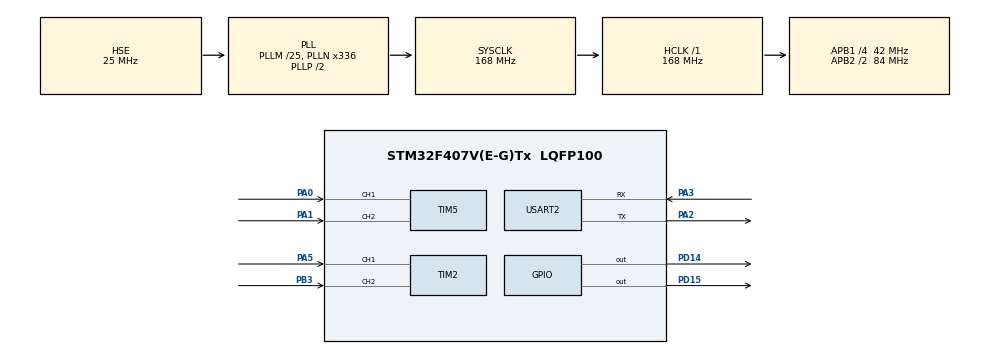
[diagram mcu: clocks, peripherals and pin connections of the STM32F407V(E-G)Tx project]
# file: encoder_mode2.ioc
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Mcu.Family=STM32F4
Mcu.Name=STM32F407V(E-G)Tx
Mcu.Package=LQFP100
NVIC.PriorityGroup=NVIC_PRIORITYGROUP_4
NVIC.TIM2_IRQn=true\:0\:0\:false\:false\:true\:true\:true\:true
NVIC.TIM5_IRQn=true\:0\:0\:false\:false\:true\:true\:true\:true
PA0-WKUP.Signal=S_TIM5_CH1
PA1.Signal=S_TIM5_CH2
PA13.Mode=Serial_Wire
PA13.Signal=SYS_JTMS-SWDIO
PA14.Mode=Serial_Wire
PA14.Signal=SYS_JTCK-SWCLK
PA2.Mode=Asynchronous
PA2.Signal=USART2_TX
PA3.Mode=Asynchronous
PA3.Signal=USART2_RX
PA5.Signal=S_TIM2_CH1_ETR
PB3.Signal=S_TIM2_CH2
PC14-OSC32_IN.Mode=LSE-External-Oscillator
PC14-OSC32_IN.Signal=RCC_OSC32_IN
PC15-OSC32_OUT.Mode=LSE-External-Oscillator
PC15-OSC32_OUT.Signal=RCC_OSC32_OUT
PD14.Signal=GPIO_Output
PD15.Signal=GPIO_Output
PH0-OSC_IN.Mode=HSE-External-Oscillator
PH0-OSC_IN.Signal=RCC_OSC_IN
PH1-OSC_OUT.Mode=HSE-External-Oscillator
PH1-OSC_OUT.Signal=RCC_OSC_OUT
ProjectManager.HeapSize=0x200
ProjectManager.StackSize=0x400
ProjectManager.TargetToolchain=STM32CubeIDE
RCC.48MHZClocksFreq_Value=84000000
RCC.AHBFreq_Value=168000000
RCC.APB1CLKDivider=RCC_HCLK_DIV4
RCC.APB1Freq_Value=42000000
RCC.APB1TimFreq_Value=84000000
RCC.APB2CLKDivider=RCC_HCLK_DIV2
RCC.APB2Freq_Value=84000000
RCC.APB2TimFreq_Value=168000000
RCC.CortexFreq_Value=168000000
RCC.HCLKFreq_Value=168000000
RCC.HSE_VALUE=25000000
RCC.HSI_VALUE=16000000
RCC.PLLM=25
RCC.PLLN=336
RCC.PLLSourceVirtual=RCC_PLLSOURCE_HSE
RCC.SYSCLKFreq_VALUE=168000000
RCC.SYSCLKSource=RCC_SYSCLKSOURCE_PLLCLK
RCC.VCOOutputFreq_Value=336000000
SH.S_TIM2_CH1_ETR.0=TIM2_CH1,Encoder_Interface
SH.S_TIM2_CH2.0=TIM2_CH2,Encoder_Interface
SH.S_TIM5_CH1.0=TIM5_CH1,Encoder_Interface
SH.S_TIM5_CH2.0=TIM5_CH2,Encoder_Interface
TIM2.EncoderMode=TIM_ENCODERMODE_TI12
TIM5.EncoderMode=TIM_ENCODERMODE_TI12
USART2.VirtualMode=VM_ASYNC
VP_RTC_VS_RTC_Activate.Mode=RTC_Enabled
board=custom

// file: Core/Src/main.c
/* USER CODE BEGIN Header */
/**
  ******************************************************************************
  * @file           : main.c
  * @brief          : Main program body
  ******************************************************************************
  * @attention
  *
  * Copyright (c) 2023 STMicroelectronics.
  * All rights reserved.
  *
  * This software is licensed under terms that can be found in the LICENSE file
  * in the root directory of this software component.
  * If no LICENSE file comes with this software, it is provided AS-IS.
  *
  ******************************************************************************
  */
/* USER CODE END Header */
#include "main.h"

RTC_HandleTypeDef hrtc;

TIM_HandleTypeDef htim2;
TIM_HandleTypeDef htim5;

UART_HandleTypeDef huart2;

void SystemClock_Config(void);
static void MX_GPIO_Init(void);
static void MX_TIM2_Init(void);
static void MX_TIM5_Init(void);
static void MX_USART2_UART_Init(void);
static void MX_RTC_Init(void);
/* USER CODE BEGIN PFP */
uint32_t rot_new_state;
uint32_t rot_old_state;
uint32_t rot_cnt;
uint32_t rot_new_state1;
uint32_t rot_old_state1;
uint32_t rot_cnt1;
uint16_t _write(int file, char* p, int len){
	HAL_UART_Transmit(&huart2, p, len, 10);
	return len;

}
/* USER CODE END PFP */

int main(void)
{

  /* MCU Configuration--------------------------------------------------------*/

  /* Reset of all peripherals, Initializes the Flash interface and the Systick. */
  HAL_Init();

  /* Configure the system clock */
  SystemClock_Config();

  /* Initialize all configured peripherals */
  MX_GPIO_Init();
  MX_TIM2_Init();
  MX_TIM5_Init();
  MX_USART2_UART_Init();
  MX_RTC_Init();
  /* USER CODE BEGIN 2 */
//  HAL_TIM_Encoder_Start_IT(&htim2, TIM_CHANNEL_ALL);
//  HAL_TIM_Encoder_Start_IT(&htim5, TIM_CHANNEL_ALL);
  /* USER CODE END 2 */

  /* Infinite loop */
  while (1)
  {
	 HAL_GPIO_TogglePin(GPIOD, GPIO_PIN_12);
	 HAL_GPIO_TogglePin(GPIOD, GPIO_PIN_13);
	 HAL_Delay(1000);
  }
}

void SystemClock_Config(void)
{
  RCC_OscInitTypeDef RCC_OscInitStruct = {0};
  RCC_ClkInitTypeDef RCC_ClkInitStruct = {0};

  /** Configure the main internal regulator output voltage
  */
  __HAL_RCC_PWR_CLK_ENABLE();
  __HAL_PWR_VOLTAGESCALING_CONFIG(PWR_REGULATOR_VOLTAGE_SCALE1);

  /** Initializes the RCC Oscillators according to the specified parameters
  * in the RCC_OscInitTypeDef structure.
  */
  RCC_OscInitStruct.OscillatorType = RCC_OSCILLATORTYPE_LSI|RCC_OSCILLATORTYPE_HSE;
  RCC_OscInitStruct.HSEState = RCC_HSE_ON;
  RCC_OscInitStruct.LSIState = RCC_LSI_ON;
  RCC_OscInitStruct.PLL.PLLState = RCC_PLL_ON;
  RCC_OscInitStruct.PLL.PLLSource = RCC_PLLSOURCE_HSE;
  RCC_OscInitStruct.PLL.PLLM = 25;
  RCC_OscInitStruct.PLL.PLLN = 336;
  RCC_OscInitStruct.PLL.PLLP = RCC_PLLP_DIV2;
  RCC_OscInitStruct.PLL.PLLQ = 4;
  if (HAL_RCC_OscConfig(&RCC_OscInitStruct) != HAL_OK)
  {
    Error_Handler();
  }

  /** Initializes the CPU, AHB and APB buses clocks
  */
  RCC_ClkInitStruct.ClockType = RCC_CLOCKTYPE_HCLK|RCC_CLOCKTYPE_SYSCLK
                              |RCC_CLOCKTYPE_PCLK1|RCC_CLOCKTYPE_PCLK2;
  RCC_ClkInitStruct.SYSCLKSource = RCC_SYSCLKSOURCE_PLLCLK;
  RCC_ClkInitStruct.AHBCLKDivider = RCC_SYSCLK_DIV1;
  RCC_ClkInitStruct.APB1CLKDivider = RCC_HCLK_DIV4;
  RCC_ClkInitStruct.APB2CLKDivider = RCC_HCLK_DIV2;

  if (HAL_RCC_ClockConfig(&RCC_ClkInitStruct, FLASH_LATENCY_5) != HAL_OK)
  {
    Error_Handler();
  }
}

static void MX_RTC_Init(void)
{

  /** Initialize RTC Only
  */
  hrtc.Instance = RTC;
  hrtc.Init.HourFormat = RTC_HOURFORMAT_24;
  hrtc.Init.AsynchPrediv = 127;
  hrtc.Init.SynchPrediv = 255;
  hrtc.Init.OutPut = RTC_OUTPUT_DISABLE;
  hrtc.Init.OutPutPolarity = RTC_OUTPUT_POLARITY_HIGH;
  hrtc.Init.OutPutType = RTC_OUTPUT_TYPE_OPENDRAIN;
  if (HAL_RTC_Init(&hrtc) != HAL_OK)
  {
    Error_Handler();
  }

}

static void MX_TIM2_Init(void)
{

  TIM_Encoder_InitTypeDef sConfig = {0};
  TIM_MasterConfigTypeDef sMasterConfig = {0};

  htim2.Instance = TIM2;
  htim2.Init.Prescaler = 0;
  htim2.Init.CounterMode = TIM_COUNTERMODE_UP;
  htim2.Init.Period = 4294967295;
  htim2.Init.ClockDivision = TIM_CLOCKDIVISION_DIV1;
  htim2.Init.AutoReloadPreload = TIM_AUTORELOAD_PRELOAD_DISABLE;
  sConfig.EncoderMode = TIM_ENCODERMODE_TI12;
  sConfig.IC1Polarity = TIM_ICPOLARITY_RISING;
  sConfig.IC1Selection = TIM_ICSELECTION_DIRECTTI;
  sConfig.IC1Prescaler = TIM_ICPSC_DIV1;
  sConfig.IC1Filter = 0;
  sConfig.IC2Polarity = TIM_ICPOLARITY_RISING;
  sConfig.IC2Selection = TIM_ICSELECTION_DIRECTTI;
  sConfig.IC2Prescaler = TIM_ICPSC_DIV1;
  sConfig.IC2Filter = 0;
  if (HAL_TIM_Encoder_Init(&htim2, &sConfig) != HAL_OK)
  {
    Error_Handler();
  }
  sMasterConfig.MasterOutputTrigger = TIM_TRGO_RESET;
  sMasterConfig.MasterSlaveMode = TIM_MASTERSLAVEMODE_DISABLE;
  if (HAL_TIMEx_MasterConfigSynchronization(&htim2, &sMasterConfig) != HAL_OK)
  {
    Error_Handler();
  }

}

static void MX_TIM5_Init(void)
{

  TIM_Encoder_InitTypeDef sConfig = {0};
  TIM_MasterConfigTypeDef sMasterConfig = {0};

  htim5.Instance = TIM5;
  htim5.Init.Prescaler = 0;
  htim5.Init.CounterMode = TIM_COUNTERMODE_UP;
  htim5.Init.Period = 4294967295;
  htim5.Init.ClockDivision = TIM_CLOCKDIVISION_DIV1;
  htim5.Init.AutoReloadPreload = TIM_AUTORELOAD_PRELOAD_DISABLE;
  sConfig.EncoderMode = TIM_ENCODERMODE_TI12;
  sConfig.IC1Polarity = TIM_ICPOLARITY_RISING;
  sConfig.IC1Selection = TIM_ICSELECTION_DIRECTTI;
  sConfig.IC1Prescaler = TIM_ICPSC_DIV1;
  sConfig.IC1Filter = 0;
  sConfig.IC2Polarity = TIM_ICPOLARITY_RISING;
  sConfig.IC2Selection = TIM_ICSELECTION_DIRECTTI;
  sConfig.IC2Prescaler = TIM_ICPSC_DIV1;
  sConfig.IC2Filter = 0;
  if (HAL_TIM_Encoder_Init(&htim5, &sConfig) != HAL_OK)
  {
    Error_Handler();
  }
  sMasterConfig.MasterOutputTrigger = TIM_TRGO_RESET;
  sMasterConfig.MasterSlaveMode = TIM_MASTERSLAVEMODE_DISABLE;
  if (HAL_TIMEx_MasterConfigSynchronization(&htim5, &sMasterConfig) != HAL_OK)
  {
    Error_Handler();
  }

}

static void MX_USART2_UART_Init(void)
{

  huart2.Instance = USART2;
  huart2.Init.BaudRate = 115200;
  huart2.Init.WordLength = UART_WORDLENGTH_8B;
  huart2.Init.StopBits = UART_STOPBITS_1;
  huart2.Init.Parity = UART_PARITY_NONE;
  huart2.Init.Mode = UART_MODE_TX_RX;
  huart2.Init.HwFlowCtl = UART_HWCONTROL_NONE;
  huart2.Init.OverSampling = UART_OVERSAMPLING_16;
  if (HAL_UART_Init(&huart2) != HAL_OK)
  {
    Error_Handler();
  }

}

static void MX_GPIO_Init(void)
{
  GPIO_InitTypeDef GPIO_InitStruct = {0};

  /* GPIO Ports Clock Enable */
  __HAL_RCC_GPIOC_CLK_ENABLE();
  __HAL_RCC_GPIOH_CLK_ENABLE();
  __HAL_RCC_GPIOA_CLK_ENABLE();
  __HAL_RCC_GPIOD_CLK_ENABLE();
  __HAL_RCC_GPIOB_CLK_ENABLE();

  /*Configure GPIO pin Output Level */
  HAL_GPIO_WritePin(GPIOD, GPIO_PIN_14|GPIO_PIN_15, GPIO_PIN_RESET);

  /*Configure GPIO pins : PD14 PD15 */
  GPIO_InitStruct.Pin = GPIO_PIN_14|GPIO_PIN_15;
  GPIO_InitStruct.Mode = GPIO_MODE_OUTPUT_PP;
  GPIO_InitStruct.Pull = GPIO_NOPULL;
  GPIO_InitStruct.Speed = GPIO_SPEED_FREQ_LOW;
  HAL_GPIO_Init(GPIOD, &GPIO_InitStruct);

}

/* USER CODE BEGIN 4 */
uint32_t rot_get_state() {
	return (uint32_t)((HAL_GPIO_ReadPin(GPIOA, GPIO_PIN_1) << 1)
                | (HAL_GPIO_ReadPin(GPIOA, GPIO_PIN_0)));
}
uint32_t rot_get_state1() {
	return (int)((HAL_GPIO_ReadPin(GPIOA, GPIO_PIN_5) << 1)
                | (HAL_GPIO_ReadPin(GPIOB, GPIO_PIN_3)));
}
// External interrupts from rotary encoder
void HAL_GPIO_EXTI_Callback(uint16_t GPIO_Pin) {

	if (GPIO_Pin == GPIO_PIN_0 || GPIO_Pin == GPIO_PIN_1) {

		rot_new_state = rot_get_state();  //https://stm32world.com/wiki/STM32_Rotary_Encoder

		printf("rotation = %ld:%ld\n", rot_old_state, rot_new_state);

		// Check transition
		if (rot_old_state == 3 && rot_new_state == 2) {        // 3 -> 2 transition
			rot_cnt++;
		} else if (rot_old_state == 2 && rot_new_state == 0) { // 2 -> 0 transition
			rot_cnt++;
		} else if (rot_old_state == 0 && rot_new_state == 1) { // 0 -> 1 transition
			rot_cnt++;
		} else if (rot_old_state == 1 && rot_new_state == 3) { // 1 -> 3 transition
			rot_cnt++;
		} else if (rot_old_state == 3 && rot_new_state == 1) { // 3 -> 1 transition
			rot_cnt--;
		} else if (rot_old_state == 1 && rot_new_state == 0) { // 1 -> 0 transition
			rot_cnt--;
		} else if (rot_old_state == 0 && rot_new_state == 2) { // 0 -> 2 transition
			rot_cnt--;
		} else if (rot_old_state == 2 && rot_new_state == 3) { // 2 -> 3 transition
			rot_cnt--;
		}

		rot_old_state = rot_new_state;
	}
	if (GPIO_Pin == GPIO_PIN_3 || GPIO_Pin == GPIO_PIN_5) {

			rot_new_state1 = rot_get_state1();  //https://stm32world.com/wiki/STM32_Rotary_Encoder

			printf("rotation = %ld:%ld\n", rot_old_state1, rot_new_state1);

			// Check transition
			if (rot_old_state1 == 3 && rot_new_state1 == 2) {        // 3 -> 2 transition
				rot_cnt1++;
			} else if (rot_old_state1 == 2 && rot_new_state1 == 0) { // 2 -> 0 transition
				rot_cnt1++;
			} else if (rot_old_state1 == 0 && rot_new_state1 == 1) { // 0 -> 1 transition
				rot_cnt1++;
			} else if (rot_old_state1 == 1 && rot_new_state1 == 3) { // 1 -> 3 transition
				rot_cnt1++;
			} else if (rot_old_state1 == 3 && rot_new_state1 == 1) { // 3 -> 1 transition
				rot_cnt1--;
			} else if (rot_old_state1 == 1 && rot_new_state1 == 0) { // 1 -> 0 transition
				rot_cnt1--;
			} else if (rot_old_state1 == 0 && rot_new_state1 == 2) { // 0 -> 2 transition
				rot_cnt1--;
			} else if (rot_old_state1 == 2 && rot_new_state1 == 3) { // 2 -> 3 transition
				rot_cnt1--;
			}

			rot_old_state1 = rot_new_state1;
		}

}
/* USER CODE END 4 */

void Error_Handler(void)
{
  __disable_irq();
  while (1)
  {
  }
}
